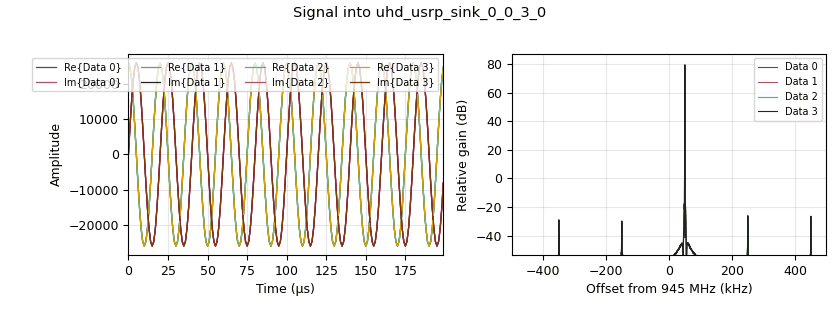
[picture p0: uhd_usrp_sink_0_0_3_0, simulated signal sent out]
<?xml version='1.0' encoding='utf-8'?>
<?grc format='1' created='3.7.12'?>
<flow_graph>
<block>
<key>options</key>
<param><key>id</key><value>top_block</value></param>
<param><key>category</key><value>Custom</value></param>
<param><key>generate_options</key><value>qt_gui</value></param>
<param><key>max_nouts</key><value>1600</value></param>
</block>
<block>
<key>variable_qtgui_chooser</key>
<param><key>id</key><value>HBTS</value></param>
<param><key>value</key><value>0</value></param>
<param><key>gui_hint</key><value>10,1,1,1</value></param>
<param><key>label0</key><value>T2: 300MHz</value></param>
<param><key>label1</key><value>T3: 600MHz</value></param>
<param><key>label2</key><value>T4: 1.2GHz</value></param>
<param><key>label3</key><value>T5: 2.7GHz</value></param>
<param><key>label4</key><value>T6:  4GHz</value></param>
<param><key>label</key><value>HB Test (2-6)</value></param>
<param><key>num_opts</key><value>5</value></param>
<param><key>option0</key><value>0</value></param>
<param><key>option1</key><value>1</value></param>
<param><key>option2</key><value>2</value></param>
<param><key>option3</key><value>3</value></param>
<param><key>option4</key><value>4</value></param>
<param><key>type</key><value>int</value></param>
</block>
<block>
<key>variable_qtgui_label</key>
<param><key>id</key><value>MagLabelA</value></param>
<param><key>value</key><value>10*numpy.log10(probeFuncA)</value></param>
<param><key>label</key><value>Mag A</value></param>
<param><key>type</key><value>real</value></param>
</block>
<block>
<key>variable_qtgui_label</key>
<param><key>id</key><value>MagLabelB</value></param>
<param><key>value</key><value>10*numpy.log10(probeFuncB)</value></param>
<param><key>label</key><value>Mag B</value></param>
<param><key>type</key><value>real</value></param>
</block>
<block>
<key>variable_qtgui_label</key>
<param><key>id</key><value>MagLabelC</value></param>
<param><key>value</key><value>10*numpy.log10(probeFuncC)</value></param>
<param><key>label</key><value>Mag C</value></param>
<param><key>type</key><value>real</value></param>
</block>
<block>
<key>variable_qtgui_label</key>
<param><key>id</key><value>MagLabelD</value></param>
<param><key>value</key><value>10*numpy.log10(probeFuncD)</value></param>
<param><key>label</key><value>Mag D</value></param>
<param><key>type</key><value>real</value></param>
</block>
<block>
<key>variable_qtgui_chooser</key>
<param><key>id</key><value>TS</value></param>
<param><key>value</key><value>0</value></param>
<param><key>gui_hint</key><value>10,0,1,1</value></param>
<param><key>label0</key><value>T1: Freq Dependance (All Different Freq)</value></param>
<param><key>label1</key><value>T2-T6: (Use Second Drop Down)</value></param>
<param><key>label2</key><value>T7: HB 5.5GHz</value></param>
<param><key>label3</key><value>T8: LB</value></param>
<param><key>label</key><value>Test Select</value></param>
<param><key>num_opts</key><value>4</value></param>
<param><key>option0</key><value>0</value></param>
<param><key>option1</key><value>1</value></param>
<param><key>option2</key><value>2</value></param>
<param><key>option3</key><value>3</value></param>
<param><key>type</key><value>int</value></param>
</block>
<block>
<key>variable_qtgui_range</key>
<param><key>id</key><value>amp_all</value></param>
<param><key>value</key><value>26000</value></param>
<param><key>gui_hint</key><value>0,1,1,1</value></param>
<param><key>label</key><value>Amp Sel</value></param>
<param><key>orient</key><value>Qt.Horizontal</value></param>
<param><key>start</key><value>0</value></param>
<param><key>step</key><value>100</value></param>
<param><key>stop</key><value>32000</value></param>
</block>
<block>
<key>variable</key>
<param><key>id</key><value>center_a</value></param>
<param><key>value</key><value>(TS==0)*945000000+((TS==1)*(HBTS==0)*300000000)+((TS==1)*(HBTS==1)*600000000)+((TS==1)*(HBTS==2)*1200000000)+((TS==1)*(HBTS==3)*2700000000)+((TS==1)*(HBTS==4)*4000000000)+((TS==2)*5500000000)+((TS==3)*15000000)</value></param>
</block>
<block>
<key>variable</key>
<param><key>id</key><value>center_b</value></param>
<param><key>value</key><value>(TS==0)*1045000000+((TS==1)*(HBTS==0)*300000000)+((TS==1)*(HBTS==1)*600000000)+((TS==1)*(HBTS==2)*1200000000)+((TS==1)*(HBTS==3)*2700000000)+((TS==1)*(HBTS==4)*4000000000)+((TS==2)*5500000000)+((TS==3)*15000000)</value></param>
</block>
<block>
<key>variable</key>
<param><key>id</key><value>center_c</value></param>
<param><key>value</key><value>(TS==0)*1145000000+((TS==1)*(HBTS==0)*300000000)+((TS==1)*(HBTS==1)*600000000)+((TS==1)*(HBTS==2)*1200000000)+((TS==1)*(HBTS==3)*2700000000)+((TS==1)*(HBTS==4)*4000000000)+((TS==2)*5500000000)+((TS==3)*15000000)</value></param>
</block>
<block>
<key>variable</key>
<param><key>id</key><value>center_d</value></param>
<param><key>value</key><value>(TS==0)*1245000000+((TS==1)*(HBTS==0)*300000000)+((TS==1)*(HBTS==1)*600000000)+((TS==1)*(HBTS==2)*1200000000)+((TS==1)*(HBTS==3)*2700000000)+((TS==1)*(HBTS==4)*4000000000)+((TS==2)*5500000000)+((TS==3)*15000000)</value></param>
</block>
<block>
<key>variable_qtgui_label</key>
<param><key>id</key><value>disp_cent_a</value></param>
<param><key>value</key><value>center_a</value></param>
<param><key>gui_hint</key><value>10,2,1,1</value></param>
<param><key>label</key><value>Center A</value></param>
<param><key>type</key><value>int</value></param>
</block>
<block>
<key>variable_qtgui_label</key>
<param><key>id</key><value>disp_cent_b</value></param>
<param><key>value</key><value>center_b</value></param>
<param><key>gui_hint</key><value>10,3,1,1</value></param>
<param><key>label</key><value>Center B</value></param>
<param><key>type</key><value>int</value></param>
</block>
<block>
<key>variable_qtgui_label</key>
<param><key>id</key><value>disp_cent_c</value></param>
<param><key>value</key><value>center_c</value></param>
<param><key>gui_hint</key><value>10,4,1,1</value></param>
<param><key>label</key><value>Center C</value></param>
<param><key>type</key><value>int</value></param>
</block>
<block>
<key>variable_qtgui_label</key>
<param><key>id</key><value>disp_cent_d</value></param>
<param><key>value</key><value>center_d</value></param>
<param><key>gui_hint</key><value>10,5,1,1</value></param>
<param><key>label</key><value>Center D</value></param>
<param><key>type</key><value>int</value></param>
</block>
<block>
<key>variable_qtgui_range</key>
<param><key>id</key><value>freq_all</value></param>
<param><key>value</key><value>samp_rate/20</value></param>
<param><key>gui_hint</key><value>0,0,1,1</value></param>
<param><key>label</key><value>Freq Sel</value></param>
<param><key>min_len</key><value>2000</value></param>
<param><key>orient</key><value>Qt.Horizontal</value></param>
<param><key>start</key><value>-samp_rate/2</value></param>
<param><key>step</key><value>1000</value></param>
<param><key>stop</key><value>samp_rate/2</value></param>
</block>
<block>
<key>variable_function_probe</key>
<param><key>id</key><value>probeFuncA</value></param>
<param><key>block_id</key><value>magProbeA</value></param>
<param><key>function_name</key><value>level</value></param>
<param><key>value</key><value>0</value></param>
<param><key>poll_rate</key><value>10</value></param>
</block>
<block>
<key>variable_function_probe</key>
<param><key>id</key><value>probeFuncB</value></param>
<param><key>block_id</key><value>magProbeB</value></param>
<param><key>function_name</key><value>level</value></param>
<param><key>value</key><value>0</value></param>
<param><key>poll_rate</key><value>10</value></param>
</block>
<block>
<key>variable_function_probe</key>
<param><key>id</key><value>probeFuncC</value></param>
<param><key>block_id</key><value>magProbeC</value></param>
<param><key>function_name</key><value>level</value></param>
<param><key>value</key><value>0</value></param>
<param><key>poll_rate</key><value>10</value></param>
</block>
<block>
<key>variable_function_probe</key>
<param><key>id</key><value>probeFuncD</value></param>
<param><key>block_id</key><value>magProbeD</value></param>
<param><key>function_name</key><value>level</value></param>
<param><key>value</key><value>0</value></param>
<param><key>poll_rate</key><value>10</value></param>
</block>
<block>
<key>variable</key>
<param><key>id</key><value>samp_rate</value></param>
<param><key>value</key><value>325000000/325</value></param>
</block>
<block>
<key>qtgui_tab_widget</key>
<param><key>id</key><value>Tab</value></param>
<param><key>gui_hint</key><value>1,0,6,4</value></param>
<param><key>label0</key><value>Freq Sink</value></param>
<param><key>label1</key><value>Time Sink</value></param>
<param><key>num_tabs</key><value>2</value></param>
</block>
<block>
<key>analog_sig_source_x</key>
<param><key>id</key><value>analog_sig_source_x_0</value></param>
<param><key>amp</key><value>amp_all</value></param>
<param><key>freq</key><value>freq_all</value></param>
<param><key>offset</key><value>0</value></param>
<param><key>type</key><value>complex</value></param>
<param><key>samp_rate</key><value>samp_rate </value></param>
<param><key>waveform</key><value>analog.GR_COS_WAVE</value></param>
</block>
<block>
<key>analog_sig_source_x</key>
<param><key>id</key><value>analog_sig_source_x_0_0</value></param>
<param><key>amp</key><value>amp_all</value></param>
<param><key>freq</key><value>freq_all</value></param>
<param><key>offset</key><value>0</value></param>
<param><key>type</key><value>complex</value></param>
<param><key>samp_rate</key><value>samp_rate </value></param>
<param><key>waveform</key><value>analog.GR_COS_WAVE</value></param>
</block>
<block>
<key>analog_sig_source_x</key>
<param><key>id</key><value>analog_sig_source_x_0_0_0</value></param>
<param><key>amp</key><value>amp_all</value></param>
<param><key>freq</key><value>freq_all</value></param>
<param><key>offset</key><value>0</value></param>
<param><key>type</key><value>complex</value></param>
<param><key>samp_rate</key><value>samp_rate </value></param>
<param><key>waveform</key><value>analog.GR_COS_WAVE</value></param>
</block>
<block>
<key>analog_sig_source_x</key>
<param><key>id</key><value>analog_sig_source_x_0_0_0_0</value></param>
<param><key>amp</key><value>amp_all</value></param>
<param><key>freq</key><value>freq_all</value></param>
<param><key>offset</key><value>0</value></param>
<param><key>type</key><value>complex</value></param>
<param><key>samp_rate</key><value>samp_rate </value></param>
<param><key>waveform</key><value>analog.GR_COS_WAVE</value></param>
</block>
<block>
<key>blocks_complex_to_interleaved_short</key>
<param><key>id</key><value>blocks_complex_to_interleaved_short_0</value></param>
<param><key>vector_output</key><value>True</value></param>
</block>
<block>
<key>blocks_complex_to_interleaved_short</key>
<param><key>id</key><value>blocks_complex_to_interleaved_short_0_0</value></param>
<param><key>vector_output</key><value>True</value></param>
</block>
<block>
<key>blocks_complex_to_interleaved_short</key>
<param><key>id</key><value>blocks_complex_to_interleaved_short_0_0_0</value></param>
<param><key>vector_output</key><value>True</value></param>
</block>
<block>
<key>blocks_complex_to_interleaved_short</key>
<param><key>id</key><value>blocks_complex_to_interleaved_short_0_0_0_0</value></param>
<param><key>vector_output</key><value>True</value></param>
</block>
<block>
<key>blocks_interleaved_short_to_complex</key>
<param><key>id</key><value>blocks_interleaved_short_to_complex_0_0</value></param>
<param><key>vector_input</key><value>True</value></param>
</block>
<block>
<key>blocks_interleaved_short_to_complex</key>
<param><key>id</key><value>blocks_interleaved_short_to_complex_0_0_0</value></param>
<param><key>vector_input</key><value>True</value></param>
</block>
<block>
<key>blocks_interleaved_short_to_complex</key>
<param><key>id</key><value>blocks_interleaved_short_to_complex_0_0_1</value></param>
<param><key>vector_input</key><value>True</value></param>
</block>
<block>
<key>blocks_interleaved_short_to_complex</key>
<param><key>id</key><value>blocks_interleaved_short_to_complex_0_0_2</value></param>
<param><key>vector_input</key><value>True</value></param>
</block>
<block>
<key>import</key>
<param><key>id</key><value>import_0</value></param>
<param><key>import</key><value>import numpy</value></param>
</block>
<block>
<key>analog_probe_avg_mag_sqrd_x</key>
<param><key>id</key><value>magProbeA</value></param>
<param><key>alpha</key><value>.01</value></param>
<param><key>threshold</key><value>90</value></param>
<param><key>type</key><value>c</value></param>
</block>
<block>
<key>analog_probe_avg_mag_sqrd_x</key>
<param><key>id</key><value>magProbeB</value></param>
<param><key>alpha</key><value>0.01</value></param>
<param><key>threshold</key><value>90</value></param>
<param><key>type</key><value>c</value></param>
</block>
<block>
<key>analog_probe_avg_mag_sqrd_x</key>
<param><key>id</key><value>magProbeC</value></param>
<param><key>alpha</key><value>0.01</value></param>
<param><key>threshold</key><value>90</value></param>
<param><key>type</key><value>c</value></param>
</block>
<block>
<key>analog_probe_avg_mag_sqrd_x</key>
<param><key>id</key><value>magProbeD</value></param>
<param><key>alpha</key><value>0.01</value></param>
<param><key>threshold</key><value>90</value></param>
<param><key>type</key><value>c</value></param>
</block>
<block>
<key>qtgui_freq_sink_x</key>
<param><key>id</key><value>qtgui_freq_sink_x_0_0</value></param>
<param><key>bw</key><value>samp_rate</value></param>
<param><key>fc</key><value>center_d</value></param>
<param><key>fftsize</key><value>1024</value></param>
<param><key>gui_hint</key><value>Tab@0:3,1,1,1</value></param>
<param><key>name</key><value>"D"</value></param>
<param><key>showports</key><value>True</value></param>
<param><key>tr_mode</key><value>qtgui.TRIG_MODE_AUTO</value></param>
<param><key>type</key><value>complex</value></param>
<param><key>wintype</key><value>firdes.WIN_BLACKMAN_hARRIS</value></param>
<param><key>ymax</key><value>75</value></param>
<param><key>ymin</key><value>-20</value></param>
</block>
<block>
<key>qtgui_freq_sink_x</key>
<param><key>id</key><value>qtgui_freq_sink_x_0_0_0</value></param>
<param><key>bw</key><value>samp_rate</value></param>
<param><key>fc</key><value>center_c</value></param>
<param><key>fftsize</key><value>1024</value></param>
<param><key>gui_hint</key><value>Tab@0:3,0,1,1</value></param>
<param><key>name</key><value>"C"</value></param>
<param><key>showports</key><value>True</value></param>
<param><key>tr_mode</key><value>qtgui.TRIG_MODE_AUTO</value></param>
<param><key>type</key><value>complex</value></param>
<param><key>wintype</key><value>firdes.WIN_BLACKMAN_hARRIS</value></param>
<param><key>ymax</key><value>75</value></param>
<param><key>ymin</key><value>-20</value></param>
</block>
<block>
<key>qtgui_freq_sink_x</key>
<param><key>id</key><value>qtgui_freq_sink_x_0_0_1</value></param>
<param><key>bw</key><value>samp_rate</value></param>
<param><key>fc</key><value>center_b</value></param>
<param><key>fftsize</key><value>1024</value></param>
<param><key>gui_hint</key><value>Tab@0:2,1,1,1</value></param>
<param><key>name</key><value>"B"</value></param>
<param><key>showports</key><value>True</value></param>
<param><key>tr_mode</key><value>qtgui.TRIG_MODE_AUTO</value></param>
<param><key>type</key><value>complex</value></param>
<param><key>wintype</key><value>firdes.WIN_BLACKMAN_hARRIS</value></param>
<param><key>ymax</key><value>75</value></param>
<param><key>ymin</key><value>-20</value></param>
</block>
<block>
<key>qtgui_freq_sink_x</key>
<param><key>id</key><value>qtgui_freq_sink_x_0_0_2</value></param>
<param><key>bw</key><value>samp_rate</value></param>
<param><key>fc</key><value>center_a</value></param>
<param><key>fftsize</key><value>1024</value></param>
<param><key>gui_hint</key><value>Tab@0:2,0,1,1</value></param>
<param><key>name</key><value>"A"</value></param>
<param><key>showports</key><value>True</value></param>
<param><key>tr_mode</key><value>qtgui.TRIG_MODE_AUTO</value></param>
<param><key>type</key><value>complex</value></param>
<param><key>wintype</key><value>firdes.WIN_BLACKMAN_hARRIS</value></param>
<param><key>ymax</key><value>75</value></param>
<param><key>ymin</key><value>-20</value></param>
</block>
<block>
<key>qtgui_time_sink_x</key>
<param><key>id</key><value>qtgui_time_sink_x_0</value></param>
<param><key>autoscale</key><value>True</value></param>
<param><key>gui_hint</key><value>Tab@1:2,0,1,1</value></param>
<param><key>color1</key><value>"blue"</value></param>
<param><key>label1</key><value></value></param>
<param><key>color2</key><value>"red"</value></param>
<param><key>label2</key><value></value></param>
<param><key>name</key><value>"A"</value></param>
<param><key>size</key><value>1024</value></param>
<param><key>srate</key><value>samp_rate</value></param>
<param><key>type</key><value>complex</value></param>
</block>
<block>
<key>qtgui_time_sink_x</key>
<param><key>id</key><value>qtgui_time_sink_x_0_0</value></param>
<param><key>autoscale</key><value>True</value></param>
<param><key>gui_hint</key><value>Tab@1:2,1,1,1</value></param>
<param><key>color1</key><value>"blue"</value></param>
<param><key>label1</key><value></value></param>
<param><key>color2</key><value>"red"</value></param>
<param><key>label2</key><value></value></param>
<param><key>name</key><value>"B"</value></param>
<param><key>size</key><value>1024</value></param>
<param><key>srate</key><value>samp_rate</value></param>
<param><key>type</key><value>complex</value></param>
</block>
<block>
<key>qtgui_time_sink_x</key>
<param><key>id</key><value>qtgui_time_sink_x_0_1</value></param>
<param><key>autoscale</key><value>True</value></param>
<param><key>gui_hint</key><value>Tab@1:3,0,1,1</value></param>
<param><key>color1</key><value>"blue"</value></param>
<param><key>label1</key><value></value></param>
<param><key>color2</key><value>"red"</value></param>
<param><key>label2</key><value></value></param>
<param><key>name</key><value>"C"</value></param>
<param><key>size</key><value>1024</value></param>
<param><key>srate</key><value>samp_rate</value></param>
<param><key>type</key><value>complex</value></param>
</block>
<block>
<key>qtgui_time_sink_x</key>
<param><key>id</key><value>qtgui_time_sink_x_0_2</value></param>
<param><key>autoscale</key><value>True</value></param>
<param><key>gui_hint</key><value>Tab@1:3,1,1,1</value></param>
<param><key>color1</key><value>"blue"</value></param>
<param><key>label1</key><value></value></param>
<param><key>color2</key><value>"red"</value></param>
<param><key>label2</key><value></value></param>
<param><key>name</key><value>"D"</value></param>
<param><key>size</key><value>1024</value></param>
<param><key>srate</key><value>samp_rate</value></param>
<param><key>type</key><value>complex</value></param>
</block>
<block>
<key>uhd_usrp_sink</key>
<param><key>id</key><value>uhd_usrp_sink_0_0_3_0</value></param>
<param><key>ant0</key><value></value></param>
<param><key>center_freq0</key><value>center_a</value></param>
<param><key>norm_gain0</key><value>False</value></param>
<param><key>gain0</key><value>0</value></param>
<param><key>ant1</key><value></value></param>
<param><key>center_freq1</key><value>center_b</value></param>
<param><key>norm_gain1</key><value>False</value></param>
<param><key>gain1</key><value>0</value></param>
<param><key>ant2</key><value></value></param>
<param><key>center_freq2</key><value>center_c</value></param>
<param><key>norm_gain2</key><value>False</value></param>
<param><key>gain2</key><value>0</value></param>
<param><key>ant3</key><value></value></param>
<param><key>center_freq3</key><value>center_d</value></param>
<param><key>norm_gain3</key><value>False</value></param>
<param><key>gain3</key><value>0</value></param>
<param><key>clock_rate</key><value>120e6</value></param>
<param><key>dev_addr</key><value></value></param>
<param><key>dev_args</key><value>"crimson"</value></param>
<param><key>type</key><value>sc16</value></param>
<param><key>clock_source0</key><value>internal</value></param>
<param><key>nchan</key><value>4</value></param>
<param><key>samp_rate</key><value>samp_rate</value></param>
<param><key>hide_cmd_port</key><value>False</value></param>
<param><key>hide_lo_controls</key><value>True</value></param>
<param><key>stream_args</key><value>sc16</value></param>
<param><key>stream_chans</key><value>[0,1,2,3]</value></param>
<param><key>sync</key><value></value></param>
<param><key>len_tag_name</key><value></value></param>
<param><key>otw</key><value>sc16</value></param>
</block>
<block>
<key>uhd_usrp_source</key>
<param><key>id</key><value>uhd_usrp_source_0_0</value></param>
<param><key>ant0</key><value></value></param>
<param><key>center_freq0</key><value>center_a</value></param>
<param><key>dc_offs_enb0</key><value>""</value></param>
<param><key>iq_imbal_enb0</key><value>""</value></param>
<param><key>norm_gain0</key><value>False</value></param>
<param><key>gain0</key><value>15</value></param>
<param><key>ant1</key><value></value></param>
<param><key>center_freq1</key><value>center_b</value></param>
<param><key>dc_offs_enb1</key><value>""</value></param>
<param><key>iq_imbal_enb1</key><value>""</value></param>
<param><key>norm_gain1</key><value>False</value></param>
<param><key>gain1</key><value>15</value></param>
<param><key>ant2</key><value></value></param>
<param><key>center_freq2</key><value>center_c</value></param>
<param><key>dc_offs_enb2</key><value>""</value></param>
<param><key>iq_imbal_enb2</key><value>""</value></param>
<param><key>norm_gain2</key><value>False</value></param>
<param><key>gain2</key><value>15</value></param>
<param><key>ant3</key><value></value></param>
<param><key>center_freq3</key><value>center_d</value></param>
<param><key>dc_offs_enb3</key><value>""</value></param>
<param><key>iq_imbal_enb3</key><value>""</value></param>
<param><key>norm_gain3</key><value>False</value></param>
<param><key>gain3</key><value>15</value></param>
<param><key>clock_rate</key><value>0.0</value></param>
<param><key>dev_addr</key><value></value></param>
<param><key>clock_source0</key><value>internal</value></param>
<param><key>nchan</key><value>4</value></param>
<param><key>type</key><value>sc16</value></param>
<param><key>samp_rate</key><value>samp_rate</value></param>
<param><key>hide_cmd_port</key><value>False</value></param>
<param><key>hide_lo_controls</key><value>True</value></param>
<param><key>stream_args</key><value>sc16</value></param>
<param><key>stream_chans</key><value>[0,1,2,3]</value></param>
<param><key>sync</key><value></value></param>
</block>
<connection><source_block_id>analog_sig_source_x_0</source_block_id><sink_block_id>blocks_complex_to_interleaved_short_0</sink_block_id><source_key>0</source_key><sink_key>0</sink_key></connection>
<connection><source_block_id>analog_sig_source_x_0_0</source_block_id><sink_block_id>blocks_complex_to_interleaved_short_0_0</sink_block_id><source_key>0</source_key><sink_key>0</sink_key></connection>
<connection><source_block_id>analog_sig_source_x_0_0_0</source_block_id><sink_block_id>blocks_complex_to_interleaved_short_0_0_0</sink_block_id><source_key>0</source_key><sink_key>0</sink_key></connection>
<connection><source_block_id>analog_sig_source_x_0_0_0_0</source_block_id><sink_block_id>blocks_complex_to_interleaved_short_0_0_0_0</sink_block_id><source_key>0</source_key><sink_key>0</sink_key></connection>
<connection><source_block_id>blocks_complex_to_interleaved_short_0</source_block_id><sink_block_id>uhd_usrp_sink_0_0_3_0</sink_block_id><source_key>0</source_key><sink_key>0</sink_key></connection>
<connection><source_block_id>blocks_complex_to_interleaved_short_0_0</source_block_id><sink_block_id>uhd_usrp_sink_0_0_3_0</sink_block_id><source_key>0</source_key><sink_key>1</sink_key></connection>
<connection><source_block_id>blocks_complex_to_interleaved_short_0_0_0</source_block_id><sink_block_id>uhd_usrp_sink_0_0_3_0</sink_block_id><source_key>0</source_key><sink_key>2</sink_key></connection>
<connection><source_block_id>blocks_complex_to_interleaved_short_0_0_0_0</source_block_id><sink_block_id>uhd_usrp_sink_0_0_3_0</sink_block_id><source_key>0</source_key><sink_key>3</sink_key></connection>
<connection><source_block_id>blocks_interleaved_short_to_complex_0_0</source_block_id><sink_block_id>magProbeD</sink_block_id><source_key>0</source_key><sink_key>0</sink_key></connection>
<connection><source_block_id>blocks_interleaved_short_to_complex_0_0</source_block_id><sink_block_id>qtgui_freq_sink_x_0_0</sink_block_id><source_key>0</source_key><sink_key>0</sink_key></connection>
<connection><source_block_id>blocks_interleaved_short_to_complex_0_0</source_block_id><sink_block_id>qtgui_time_sink_x_0_2</sink_block_id><source_key>0</source_key><sink_key>0</sink_key></connection>
<connection><source_block_id>blocks_interleaved_short_to_complex_0_0_0</source_block_id><sink_block_id>magProbeC</sink_block_id><source_key>0</source_key><sink_key>0</sink_key></connection>
<connection><source_block_id>blocks_interleaved_short_to_complex_0_0_0</source_block_id><sink_block_id>qtgui_freq_sink_x_0_0_0</sink_block_id><source_key>0</source_key><sink_key>0</sink_key></connection>
<connection><source_block_id>blocks_interleaved_short_to_complex_0_0_0</source_block_id><sink_block_id>qtgui_time_sink_x_0_1</sink_block_id><source_key>0</source_key><sink_key>0</sink_key></connection>
<connection><source_block_id>blocks_interleaved_short_to_complex_0_0_1</source_block_id><sink_block_id>magProbeB</sink_block_id><source_key>0</source_key><sink_key>0</sink_key></connection>
<connection><source_block_id>blocks_interleaved_short_to_complex_0_0_1</source_block_id><sink_block_id>qtgui_freq_sink_x_0_0_1</sink_block_id><source_key>0</source_key><sink_key>0</sink_key></connection>
<connection><source_block_id>blocks_interleaved_short_to_complex_0_0_1</source_block_id><sink_block_id>qtgui_time_sink_x_0_0</sink_block_id><source_key>0</source_key><sink_key>0</sink_key></connection>
<connection><source_block_id>blocks_interleaved_short_to_complex_0_0_2</source_block_id><sink_block_id>magProbeA</sink_block_id><source_key>0</source_key><sink_key>0</sink_key></connection>
<connection><source_block_id>blocks_interleaved_short_to_complex_0_0_2</source_block_id><sink_block_id>qtgui_freq_sink_x_0_0_2</sink_block_id><source_key>0</source_key><sink_key>0</sink_key></connection>
<connection><source_block_id>blocks_interleaved_short_to_complex_0_0_2</source_block_id><sink_block_id>qtgui_time_sink_x_0</sink_block_id><source_key>0</source_key><sink_key>0</sink_key></connection>
<connection><source_block_id>uhd_usrp_source_0_0</source_block_id><sink_block_id>blocks_interleaved_short_to_complex_0_0_2</sink_block_id><source_key>0</source_key><sink_key>0</sink_key></connection>
<connection><source_block_id>uhd_usrp_source_0_0</source_block_id><sink_block_id>blocks_interleaved_short_to_complex_0_0_1</sink_block_id><source_key>1</source_key><sink_key>0</sink_key></connection>
<connection><source_block_id>uhd_usrp_source_0_0</source_block_id><sink_block_id>blocks_interleaved_short_to_complex_0_0_0</sink_block_id><source_key>2</source_key><sink_key>0</sink_key></connection>
<connection><source_block_id>uhd_usrp_source_0_0</source_block_id><sink_block_id>blocks_interleaved_short_to_complex_0_0</sink_block_id><source_key>3</source_key><sink_key>0</sink_key></connection>
</flow_graph>
